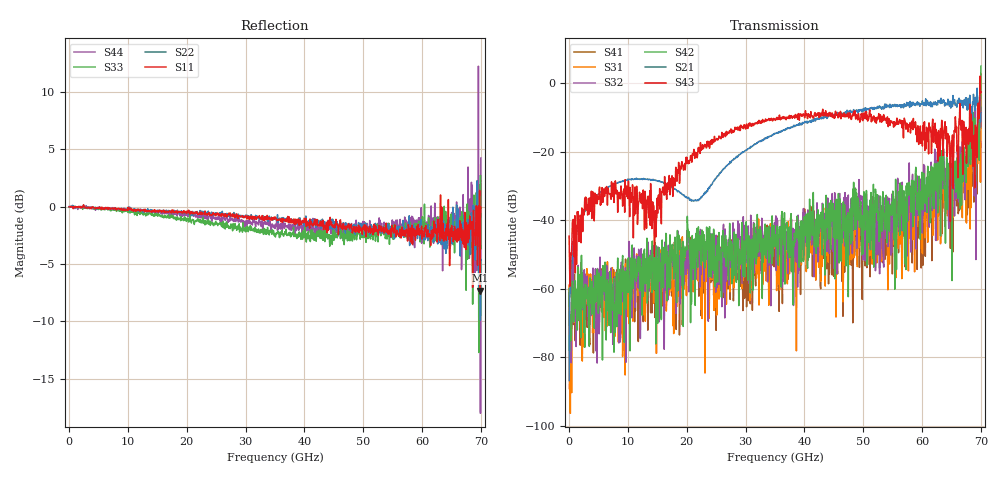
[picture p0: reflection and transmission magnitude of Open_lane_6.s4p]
!Pstart = -2.000000E+001
!Pstop = -1.000000E+001
!Pstep = 2.564103E-001
! 4/30/2026 12:19:54 PM
! C:\ANRITSUVNA\TEMP\TEMP.S4P
! CHANNEL.1
! TR.MEASUREMENT
! CORRECTED.DATA
! RF.CORRECTION: FULL.FOUR.PORT.CAL.PORT.1.2.3.4
! AVERAGING.OFF
! IF.BANDWIDTH: 100HZ
! SWEEPTYPE:  FREQ.SWEEP(Linear)
! Reference Plane Port Info
! DISTANCE:  0  m  0  m  0  m  0  m
! TIME:  0  s  0  s  0  s  0  s
! PHASE.OFFSET:  0 °  0 °  0 °  0 °
! LOSS:  0  dB  0  dB  0  dB  0  dB
! REF.LOSS:  0  dB  0  dB  0  dB  0  dB
! REF.FREQ:  0  Hz  0  Hz  0  Hz  0  Hz
! Power Info
! POWER:  -20  dBm  -20  dBm  -20  dBm  -20  dBm
! EFF.POWER:  -20  dBm  -20  dBm  -40  dBm  -40  dBm
! SOURCE.ATTEN:  0  dB  0  dB  20  dB  20  dB
! TEST.ATTEN:  0  dB  0  dB  20  dB  20  dB
! Created with skrf 1.9.0 (http://scikit-rf.org).
# Hz S RI R 50.0
!freq ReS11 ImS11 ReS12 ImS12 ReS13 ImS13
! ReS14 ImS14
! ReS21 ImS21 ReS22 ImS22 ReS23 ImS23
! ReS24 ImS24
! ReS31 ImS31 ReS32 ImS32 ReS33 ImS33
! ReS34 ImS34
! ReS41 ImS41 ReS42 ImS42 ReS43 ImS43
! ReS44 ImS44
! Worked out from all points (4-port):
!   1001 points, 10 MHz to 70 GHz, reference 50 ohm
!   strongest paths, dB at 10 MHz, 17.51 GHz, 35.01 GHz, 52.5 GHz, 70 GHz:
!     S43: -44.6, -27.0, -10.6, -10.0, -2.5
!     S21: -86.8, -30.2, -14.6, -7.1, -8.6
!     S42: -59.9, -47.2, -46.5, -40.0, 5.0
!     S32: -61.1, -47.3, -43.5, -45.1, -7.1
!     S31: -58.9, -60.5, -48.3, -50.1, -4.6
!     S41: -62.3, -51.6, -45.6, -39.0, 2.7
!   lowest |S11| = -7.3 dB at 69.86 GHz (marker M1), VSWR 2.51, Z = 27.6 + j27.5 ohm
!   |S11| at or under -10 dB: nowhere
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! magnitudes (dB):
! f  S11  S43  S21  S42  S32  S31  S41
! 10 MHz  0.0  -44.6  -86.8  -59.9  -61.1  -58.9  -62.3
! 1.48 GHz  -0.1  -40.3  -42.3  -53.6  -60.5  -59.3  -69.3
! 7.009 GHz  -0.1  -32.3  -29.9  -60.8  -58.4  -62.6  -66.4
! 60.2 GHz  -2.6  -13.8  -5.8  -37.0  -38.4  -31.9  -39.1
! 67.83 GHz  -2.9  -17.2  -7.5  -24.3  -22.5  -30.9  -36.3
! 69.86 GHz  -7.3  2.1  -10.4  -3.5  -10.4  -12.8  -13.1
! 70 GHz  0.0  -2.5  -8.6  5.0  -7.1  -4.6  2.7
